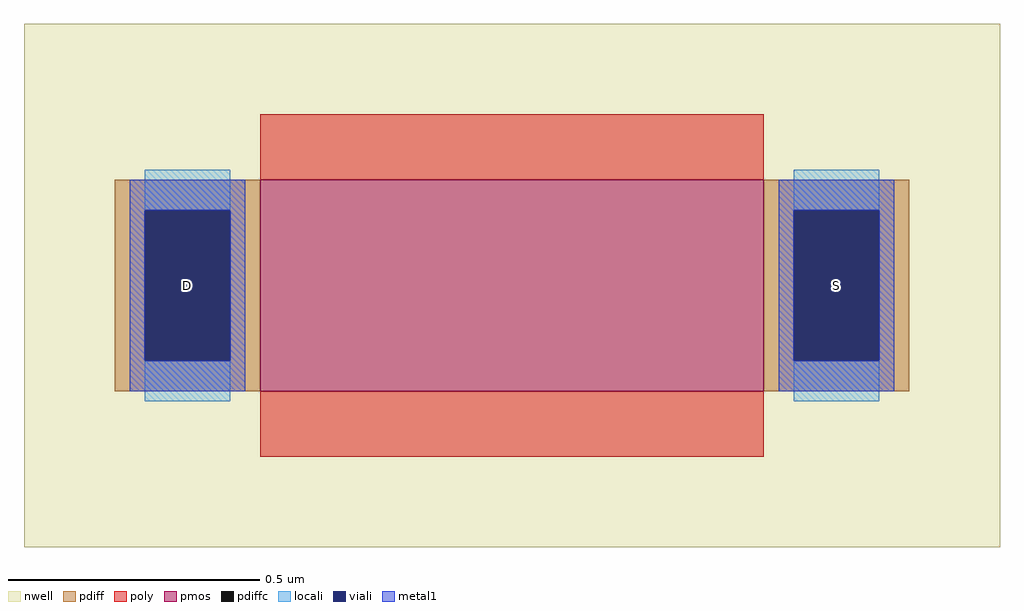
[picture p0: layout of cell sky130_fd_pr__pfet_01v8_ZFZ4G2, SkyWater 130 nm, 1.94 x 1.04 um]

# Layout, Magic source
magic
tech sky130A
magscale 1 2
<< nwell >>
rect -194 -104 194 104
<< pmos >>
rect -100 -42 100 42
<< pdiff >>
rect -158 30 -100 42
rect -158 -30 -146 30
rect -112 -30 -100 30
rect -158 -42 -100 -30
rect 100 30 158 42
rect 100 -30 112 30
rect 146 -30 158 30
rect 100 -42 158 -30
<< pdiffc >>
rect -146 -30 -112 30
rect 112 -30 146 30
<< poly >>
rect -100 42 100 68
rect -100 -68 100 -42
<< locali >>
rect -146 30 -112 46
rect -146 -46 -112 -30
rect 112 30 146 46
rect 112 -46 146 -30
<< viali >>
rect -146 -30 -112 30
rect 112 -30 146 30
<< metal1 >>
rect -152 30 -106 42
rect -152 -30 -146 30
rect -112 -30 -106 30
rect -152 -42 -106 -30
rect 106 30 152 42
rect 106 -30 112 30
rect 146 -30 152 30
rect 106 -42 152 -30
<< labels >>
rlabel pdiffc -129 0 -129 0 0 D
port 1 nsew
rlabel pdiffc 129 0 129 0 0 S
port 2 nsew
<< properties >>
string gencell sky130_fd_pr__pfet_01v8
string library sky130
string parameters w 0.42 l 1 m 1 nf 1 diffcov 100 polycov 100 guard 0 glc 1 grc 1 gtc 1 gbc 1 tbcov 100 rlcov 100 topc 0 botc 0 poverlap 0 doverlap 1 lmin 0.15 wmin 0.42 class mosfet compatible {sky130_fd_pr__pfet_01v8  sky130_fd_pr__pfet_01v8_lvt sky130_fd_pr__pfet_01v8_hvt  sky130_fd_pr__pfet_g5v0d10v5} full_metal 1 conn_gates 0 viasrc 100 viadrn 100 viagate 100 viagb 0 viagr 0 viagl 0 viagt 0 doports 1
<< end >>
